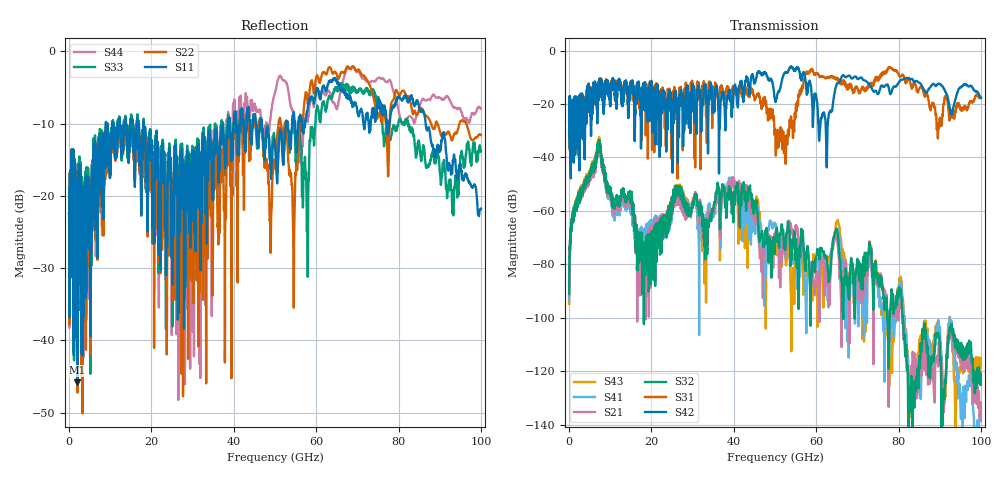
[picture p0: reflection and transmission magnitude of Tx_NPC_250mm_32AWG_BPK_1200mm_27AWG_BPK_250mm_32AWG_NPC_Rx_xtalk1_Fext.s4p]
! Info: Touchstone file created by Circ.  Input file=Tx_NPC_250mm_32AWG_BPK_1200mm_27AWG_BPK_250mm_32AWG_NPC_Rx.circ
# Hz S RI R 50
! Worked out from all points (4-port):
!   10000 points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, 10 MHz to 100 GHz, reference 50 ohm
!   strongest paths, dB at 10 MHz, 25.01 GHz, 50.01 GHz, 75.01 GHz, 100 GHz:
!     S42: -26.4, -19.9, -18.4, -16.3, -17.6
!     S31: -26.4, -24.7, -29.7, -10.3, -17.5
!     S32: -91.1, -55.6, -71.3, -86.9, -125.1
!     S21: -91.8, -56.5, -70.1, -88.5, -138.7
!     S41: -93.7, -57.0, -65.3, -89.2, -133.8
!     S43: -94.8, -55.3, -69.3, -88.4, -117.9
!   lowest |S11| = -45.8 dB at 2.01 GHz (marker M1), VSWR 1.01, Z = 50.2 - j0.489 ohm
!   |S11| at or under -10 dB: start of sweep to 8.952 GHz; 18.1 GHz to 38.56 GHz (20.46 GHz wide, 72.2 % of centre); 86.59 GHz to end of sweep (the widest 3 of 38)
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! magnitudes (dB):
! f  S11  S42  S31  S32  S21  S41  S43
! 10 MHz  -22.5  -26.4  -26.4  -91.1  -91.8  -93.7  -94.8
! 2.01 GHz  -45.8  -28.3  -27.9  -55.3  -55.8  -55.1  -54.5
! 7.27 GHz  -19.7  -16.9  -16.5  -33.5  -34.4  -33.5  -32.5
! 16.97 GHz  -10.4  -12.4  -13.7  -76.5  -86.8  -71.7  -72.8
! 39.67 GHz  -14.6  -20.4  -14.3  -54.2  -47.4  -47.6  -53.5
! 47.26 GHz  -13.5  -8.2  -18.2  -71.2  -74.9  -83.9  -76.7
! 100 GHz  -21.8  -17.6  -17.5  -125.1  -138.7  -133.8  -117.9
